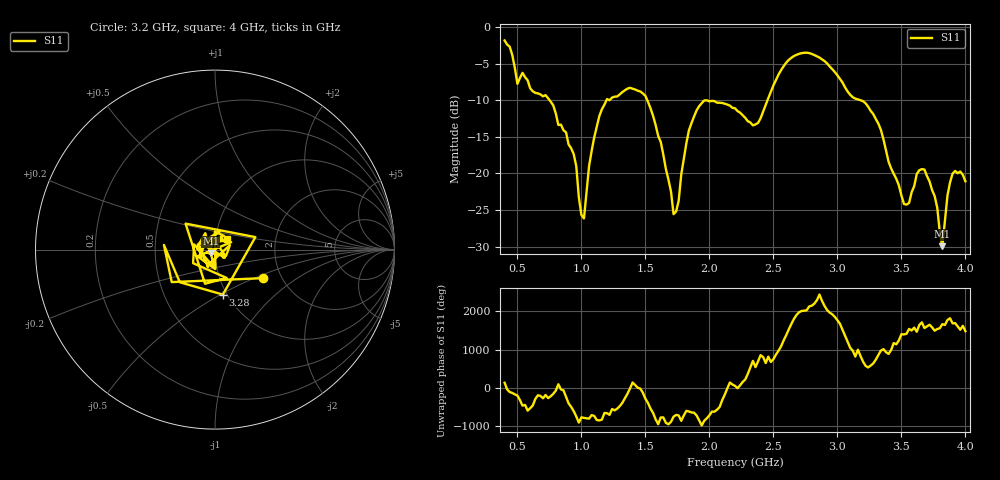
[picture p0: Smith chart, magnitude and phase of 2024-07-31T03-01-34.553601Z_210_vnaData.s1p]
!Created with skrf (http://scikit-rf.org).
# Hz S RI R 50.0
!freq ReS11 ImS11
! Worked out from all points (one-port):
!   181 points, 400 MHz to 4 GHz, reference 50 ohm
!   lowest |S11| = -29.9 dB at 3.82 GHz (marker M1), VSWR 1.07, Z = 47.7 - j2.06 ohm
!   |S11| at or under -10 dB: 751.5 MHz to 1.196 GHz (444.4 MHz wide, 45.6 % of centre); 1.514 GHz to 2.454 GHz (939.6 MHz wide, 47.4 % of centre); 3.18 GHz to end of sweep (the widest 3 of 4)
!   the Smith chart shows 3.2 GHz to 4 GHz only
!   S11 on the Smith chart (normalised r, x): 3.2 GHz: 1.61, -0.57; 3.28 GHz: 0.96, -0.51; 4 GHz: 1.13, +0.13
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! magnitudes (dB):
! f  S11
! 400 MHz  -1.8
! 500 MHz  -7.8
! 720 MHz  -9.3
! 860 MHz  -14.1
! 940 MHz  -17.4
! 1.02 GHz  -26.1
! 1.06 GHz  -19.0
! 1.14 GHz  -12.2
! 1.3 GHz  -9.2
! 1.5 GHz  -9.4
! 1.62 GHz  -15.7
! 1.72 GHz  -25.6
! 1.76 GHz  -23.7
! 1.84 GHz  -14.1
! 1.92 GHz  -10.8
! 2.2 GHz  -11.1
! 2.38 GHz  -13.1
! 2.66 GHz  -4.0
! 2.88 GHz  -4.4
! 3.1 GHz  -9.3
! 3.2 GHz  -10.1
! 3.28 GHz  -11.9
! 3.56 GHz  -24.0
! 3.68 GHz  -19.5
! 3.76 GHz  -23.1
! 3.82 GHz  -29.9
! 3.9 GHz  -20.0
! 4 GHz  -21.1
